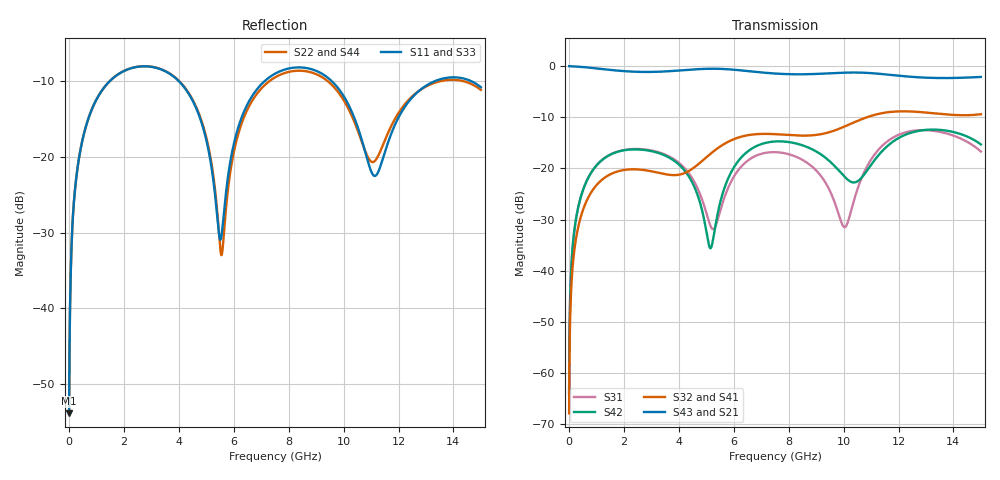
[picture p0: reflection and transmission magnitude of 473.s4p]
! Created with skrf 1.8.0 (http://scikit-rf.org).
# GHz S RI R 50.0
!freq ReS11 ImS11 ReS12 ImS12 ReS13 ImS13
! ReS14 ImS14
! ReS21 ImS21 ReS22 ImS22 ReS23 ImS23
! ReS24 ImS24
! ReS31 ImS31 ReS32 ImS32 ReS33 ImS33
! ReS34 ImS34
! ReS41 ImS41 ReS42 ImS42 ReS43 ImS43
! ReS44 ImS44
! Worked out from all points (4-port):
!   2499 points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, 5 MHz to 15 GHz, reference 50 ohm
!   strongest paths, dB at 5 MHz, 3.476 GHz, 7.19 GHz, 11.1 GHz, 15 GHz:
!     S43: 0.0, -1.0, -1.3, -1.4, -2.1
!     S21: 0.0, -1.1, -1.3, -1.4, -2.1
!     S32: -67.9, -21.1, -13.2, -9.6, -9.4
!     S41: -67.9, -21.1, -13.2, -9.6, -9.4
!     S42: -63.9, -17.4, -15.0, -18.6, -15.3
!     S31: -63.9, -17.2, -16.9, -17.5, -16.7
!   lowest |S11| = -53.8 dB at 5 MHz (marker M1), VSWR 1.00, Z = 50.2 + j0.124 ohm
!   |S11| at or under -10 dB: start of sweep to 1.498 GHz; 3.986 GHz to 7.139 GHz (3.153 GHz wide, 56.7 % of centre); 9.555 GHz to 13.36 GHz (3.801 GHz wide, 33.2 % of centre) (the widest 3 of 4)
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0.005  0.00162 0.00124  0.9983 -0.00316  8.1e-05 0.00063  -7.87e-05 -0.000397
       0.9983 -0.00316  0.00162 0.00124  -7.87e-05 -0.000397  8.09e-05 0.00063
       8.1e-05 0.00063  -7.87e-05 -0.000397  0.00162 0.00124  0.9983 -0.00316
       -7.87e-05 -0.000397  8.09e-05 0.00063  0.9983 -0.00316  0.00162 0.00124
0.3126303  0.0236 0.0813  0.9678 -0.1966  0.0107 0.0374  -0.00885 -0.0234
           0.9678 -0.1966  0.0236 0.0813  -0.00886 -0.0234  0.0105 0.0375
           0.0107 0.0374  -0.00886 -0.0234  0.0236 0.0813  0.9678 -0.1966
           -0.00885 -0.0234  0.0105 0.0375  0.9678 -0.1966  0.0236 0.0813
1.519383  0.2611 0.183  0.5697 -0.7179  0.123 0.0614  -0.0874 -0.00957
          0.5697 -0.7179  0.2615 0.1829  -0.0875 -0.00952  0.1211 0.0638
          0.123 0.0614  -0.0875 -0.00952  0.2611 0.1831  0.5697 -0.7179
          -0.0874 -0.00957  0.1211 0.0638  0.5697 -0.7179  0.2616 0.1829
5.383493  0.0301 -0.0308  -0.9302 -0.1463  -0.0242 0.0171  -0.021 0.154
          -0.9302 -0.1463  0.0252 -0.0392  -0.0198 0.1541  0.0217 0.0246
          -0.0242 0.0171  -0.0198 0.1541  0.0313 -0.0299  -0.9302 -0.1463
          -0.021 0.154  0.0217 0.0246  -0.9302 -0.1463  0.0238 -0.0387
8.597332  0.3822 -0.0457  0.018 0.8323  0.1047 -0.0525  0.2019 -0.0546
          0.018 0.8323  0.3657 -0.0223  0.2014 -0.0564  0.1092 -0.1234
          0.1047 -0.0525  0.2014 -0.0564  0.3817 -0.0483  0.0174 0.8324
          0.2019 -0.0546  0.1092 -0.1234  0.0174 0.8324  0.3658 -0.0192
11.32347  0.0819 0.0218  0.84 0.00672  0.0388 0.1532  -0.0108 -0.3427
          0.84 0.00672  0.1019 0.033  -0.0143 -0.3433  0.0122 0.1391
          0.0388 0.1532  -0.0143 -0.3433  0.0783 0.0236  0.8398 0.0072
          -0.0108 -0.3427  0.0122 0.1391  0.8398 0.0072  0.1056 0.0363
15  0.2496 -0.1414  -0.2727 -0.7364  0.076 -0.125  -0.2969 0.1612
    -0.2727 -0.7364  0.2492 -0.1174  -0.2944 0.1675  0.0778 -0.1529
    0.076 -0.125  -0.2944 0.1675  0.2547 -0.1414  -0.2685 -0.7361
    -0.2969 0.1612  0.0778 -0.1529  -0.2685 -0.7361  0.2559 -0.1197
